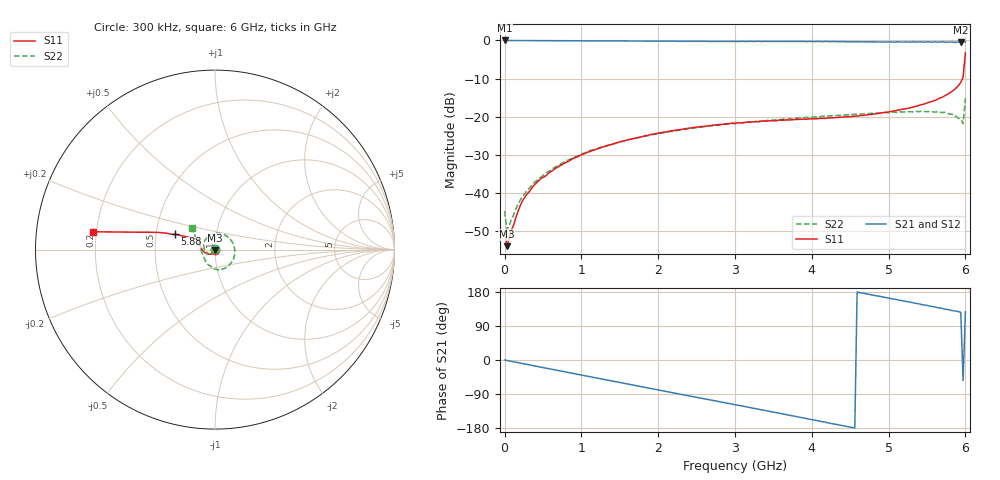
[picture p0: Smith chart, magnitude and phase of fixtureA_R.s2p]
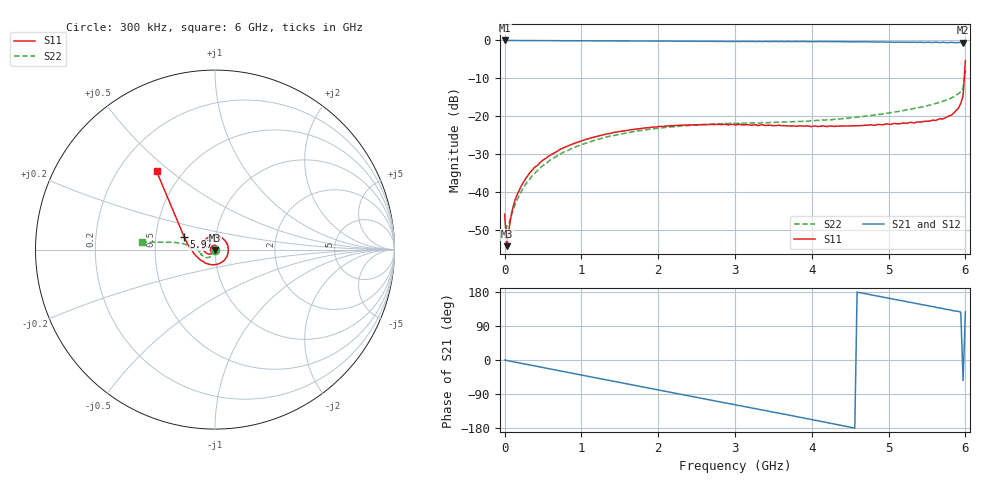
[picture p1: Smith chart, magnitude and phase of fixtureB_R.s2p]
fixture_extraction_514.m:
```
% Nathan Neihart
% Sep. 1, 2021
%
% This script uses Impedance Corrected 2x-THRU de-embedding to generate the
% the S-parameters of fixutre A and fixture B and writes the results
% to a touchstone file. This script uses the IEEE P370 standard.

clear 
clc

% Add the path to the IEEE-P370 scripts. UPDATE AS NECESSARY.
addpath('ieee-370-master/TG1/');
addpath('ieee-370-master/TG3/');

% RELATIVE path to where the different THRU measurement are stored.
% THESE MUST BE FILLED IN BY THE STUDENT
path_R0603_THRU = 'X:\EE_514\Measured_Data\EE514_Components\0603_res\0603_RES_THRU.S2P';     % THRU structure for 1206 Resistor board
path_C0603_THRU = 'X:\EE_514\Measured_Data\EE514_Components\0603_cap\0603_CAP_THRU.S2P';     % THRU structure for 1206 Capacitor board
path_L0603_THRU = 'X:\EE_514\Measured_Data\EE514_Components\0603_ind\0603_IND_THRU.S2P';     % THRU structure for 0603 Inductor board

% Load the Touchstone files into an S-parameter OBJECT
s_2xTHRU_R = sparameters( path_R0603_THRU );
s_2xTHRU_C = sparameters( path_C0603_THRU );
s_2xTHRU_L = sparameters( path_L0603_THRU );

% Use the Matlab scripts supplied by the IEEE Standard 370-2020 to extract
% the S-parameters for fixture A and fixture B from our measured THRU
% structures. This script is locaded in ../ieee-370-master/TG1/
[s_R_fixtureA, s_R_fixtureB] = IEEEP3702xThru( s_2xTHRU_R );
[s_C_fixtureA, s_C_fixtureB] = IEEEP3702xThru( s_2xTHRU_C );
[s_L_fixtureA, s_L_fixtureB] = IEEEP3702xThru( s_2xTHRU_L );

% Write the 2-Port S-parameter objects for each Fixture into a
% corresponding touchstone file.
% Resistor fixtures
rfwrite(s_R_fixtureA, 'fixtureA_R.s2p', 'FrequencyUnit', 'Hz');
rfwrite(s_R_fixtureB, 'fixtureB_R.s2p', 'FrequencyUnit', 'Hz');

% Capacitor fixtures
rfwrite(s_C_fixtureA, 'fixtureA_C.s2p', 'FrequencyUnit', 'Hz');
rfwrite(s_C_fixtureB, 'fixtureB_C.s2p', 'FrequencyUnit', 'Hz');

% Inductor fixtures
rfwrite(s_L_fixtureA, 'fixtureA_L.s2p', 'FrequencyUnit', 'Hz');
rfwrite(s_L_fixtureB, 'fixtureB_L.s2p', 'FrequencyUnit', 'Hz');
```
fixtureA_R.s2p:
# Hz S RI R 50
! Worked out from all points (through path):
!   201 points, 300 kHz to 6 GHz, reference 50 ohm
!   highest |S21| = 0.01 dB at 300 kHz (marker M1); lowest = -0.5 dB at 5.94 GHz (marker M2)
!   lowest |S11| = -53.9 dB at 30.3 MHz (marker M3), VSWR 1.00, Z = 50.1 - j0.14 ohm
!   |S11| at or under -10 dB: start of sweep to 5.961 GHz
!   |S22| runs from -49.6 to -15.2 dB; largest |S21 - S12| = 4.7e-16
!   S11 on the Smith chart (normalised r, x): 300 kHz: 1.01, -0.00; 5.88 GHz: 0.62, +0.11; 6 GHz: 0.19, +0.07
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300000  0.00267 -0.00164  1.001 -0.000561  1.001 -0.000561  -0.00254 0.00525
3.02985e7  0.00147 -0.00139  0.9994 -0.0217  0.9994 -0.0217  0.00329 -0.00044
2.702865e8  -0.000311 -0.00912  0.9792 -0.1875  0.9792 -0.1875  0.00051 -0.0101
8.702565e8  -0.0154 -0.0231  0.8173 -0.5627  0.8173 -0.5627  -0.0167 -0.023
1.980201e9  -0.0587 -0.015  0.1998 -0.9626  0.1998 -0.9626  -0.0595 0.00271
3.00015e9  -0.0799 0.0198  -0.4565 -0.863  -0.4565 -0.863  -0.0383 0.0714
4.41008e9  -0.0856 0.0506  -0.9601 -0.1073  -0.9601 -0.1073  0.098 0.0391
5.880006e9  -0.225 0.0849  -0.5985 0.7347  -0.5985 0.7347  -0.0179 -0.0992
5.940003e9  -0.2683 0.0912  -0.5516 0.7635  -0.5516 0.7635  -0.0377 -0.0852
5.970002e9  -0.3173 0.096  0.5507 -0.7661  0.5507 -0.7661  -0.0546 -0.0604
6e9  -0.6806 0.0993  -0.5792 0.7698  -0.5792 0.7698  -0.1284 0.1181
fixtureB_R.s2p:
# Hz S RI R 50
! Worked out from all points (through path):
!   201 points, 300 kHz to 6 GHz, reference 50 ohm
!   highest |S21| = 0.00 dB at 300 kHz (marker M1); lowest = -0.6 dB at 5.97 GHz (marker M2)
!   lowest |S11| = -54.2 dB at 30.3 MHz (marker M3), VSWR 1.00, Z = 49.9 - j0.134 ohm
!   |S11| at or under -10 dB: start of sweep to 5.985 GHz
!   |S22| runs from -52.2 to -7.8 dB; largest |S21 - S12| = 6e-16
!   S11 on the Smith chart (normalised r, x): 300 kHz: 0.99, +0.01; 5.97 GHz: 0.70, +0.10; 6 GHz: 0.36, +0.45
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300000  -0.00411 0.00312  1 -0.00232  1 -0.00232  -0.00106 -0.00222
3.02985e7  -0.00142 -0.00135  0.9991 -0.0218  0.9991 -0.0218  -0.00305 -0.00213
1.20294e8  -0.00231 -0.00662  0.9947 -0.0848  0.9947 -0.0848  -0.00331 -0.00525
2.40288e8  -0.00493 -0.0124  0.9832 -0.1672  0.9832 -0.1672  -0.00423 -0.0105
7.20264e8  -0.0263 -0.0256  0.8708 -0.4763  0.8708 -0.4763  -0.0131 -0.0287
1.890206e9  -0.0673 0.024  0.2589 -0.9488  0.2589 -0.9488  -0.0519 -0.0436
3.00015e9  -0.006 0.0769  -0.4556 -0.8601  -0.4556 -0.8601  -0.0761 -0.0277
4.470076e9  0.0736 -0.0131  -0.9606 -0.0666  -0.9606 -0.0666  -0.0944 -0.00538
5.940003e9  -0.1474 0.0209  -0.5519 0.7549  -0.5519 0.7549  -0.208 0.0381
5.970002e9  -0.1717 0.0707  0.5437 -0.756  0.5437 -0.756  -0.2326 0.0407
6e9  -0.3257 0.4366  -0.5784 0.7524  -0.5784 0.7524  -0.4062 0.0418
